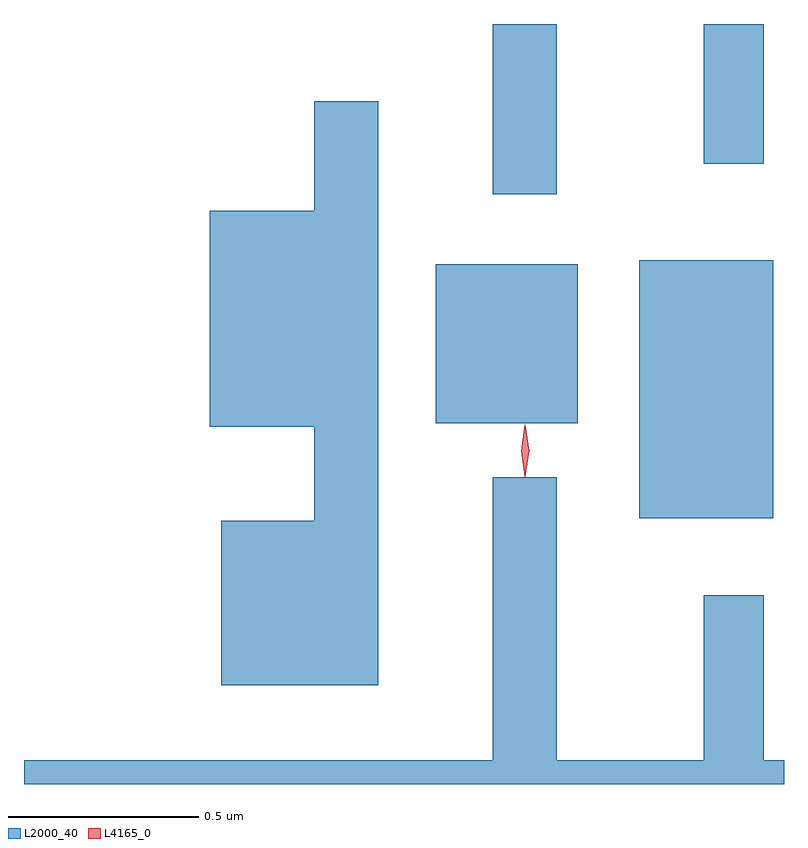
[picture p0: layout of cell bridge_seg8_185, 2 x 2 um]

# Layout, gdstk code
import gdstk
lib = gdstk.Library(unit=1e-6, precision=1e-09)
def R(c, l, rs):  # rectangles x0, y0, x1, y1
    for r in rs: c.add(gdstk.rectangle(r[:2], r[2:], *l))
def P(c, l, *ps):  # polygons
    for p in ps: c.add(gdstk.Polygon(p, *l))
L2000_40 = (2000, 40)
L4165_0 = (4165, 0)

bridge_seg8_185 = lib.new_cell('bridge_seg8_185')
R(bridge_seg8_185, L2000_40, [(1121.046,1910.581,1121.399,1911.259), (1120.511,1910.831,1120.884,1911.249), (1120.661,1911.433,1120.829,1911.881), (1121.216,1911.513,1121.374,1911.881)])
P(bridge_seg8_185, L2000_40, [(1120.359,1911.678),(1120.191,1911.678),(1120.191,1911.389),(1119.916,1911.389),(1119.916,1910.821),(1120.191,1910.821),(1120.191,1910.574),(1119.946,1910.574),(1119.946,1910.141),(1120.359,1910.141)],
  [(1121.427,1909.944),(1121.374,1909.944),(1121.374,1910.378),(1121.216,1910.378),(1121.216,1909.944),(1120.829,1909.944),(1120.829,1910.688),(1120.661,1910.688),(1120.661,1909.944),(1119.427,1909.944),(1119.427,1909.881),(1121.427,1909.881)])
P(bridge_seg8_185, L4165_0, [(1120.745,1910.693),(1120.736,1910.757),(1120.745,1910.821),(1120.746,1910.822),(1120.746,1910.821),(1120.756,1910.757),(1120.746,1910.693),(1120.746,1910.693)],
  [(1120.746,1910.689),(1120.745,1910.69),(1120.736,1910.758),(1120.745,1910.826),(1120.746,1910.826),(1120.746,1910.826),(1120.756,1910.758),(1120.746,1910.69)])

lib.write_gds('bridge_seg8_185.gds')
